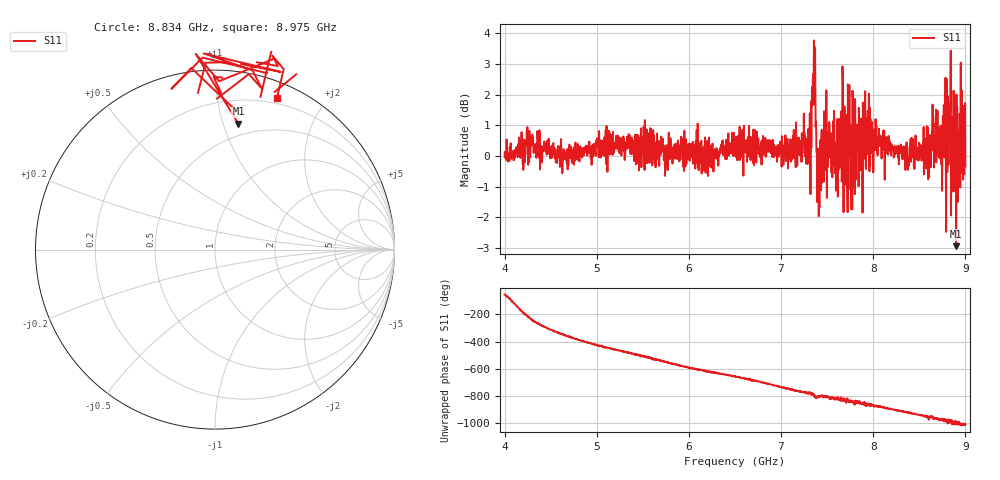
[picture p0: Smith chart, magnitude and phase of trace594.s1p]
! Created with skrf 1.8.0 (http://scikit-rf.org).
# Hz S RI R 50.0
!freq ReS11 ImS11
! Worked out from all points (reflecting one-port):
!   1601 points, 4 GHz to 9 GHz, reference 50 ohm
!   lowest |S11| = -2.9 dB at 8.9 GHz (marker M1), VSWR 5.97, Z = 19.7 + j56.2 ohm
!   phase of S11 starts at -54 deg and turns -955 deg over the sweep
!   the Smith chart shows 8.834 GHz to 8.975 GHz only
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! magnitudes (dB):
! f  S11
! 4 GHz  0.1
! 4.284 GHz  0.4
! 4.625 GHz  -0.6
! 5.25 GHz  0.3
! 5.875 GHz  -0.1
! 6.5 GHz  0.2
! 7.125 GHz  0.2
! 7.297 GHz  0.9
! 7.35 GHz  2.2
! 7.362 GHz  3.6
! 7.409 GHz  -2.0
! 7.512 GHz  0.5
! 7.603 GHz  -0.6
! 7.65 GHz  1.4
! 7.691 GHz  -0.5
! 7.697 GHz  0.7
! 7.75 GHz  0.5
! 7.897 GHz  0.2
! 7.962 GHz  1.6
! 8.375 GHz  -0.1
! 8.588 GHz  -0.4
! 8.656 GHz  1.1
! 8.766 GHz  1.7
! 8.819 GHz  0.7
! 8.869 GHz  -1.2
! 8.9 GHz  -2.9
! 8.972 GHz  0.6
! 9 GHz  -0.3
